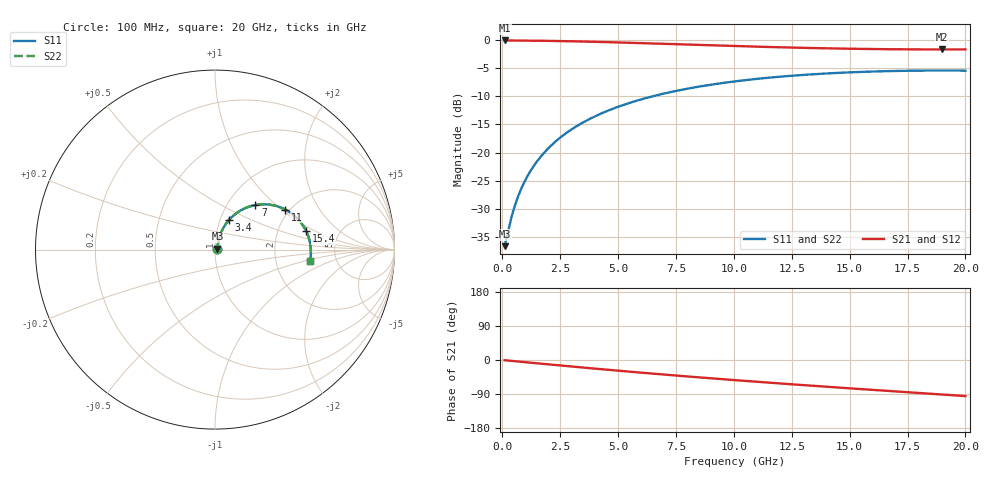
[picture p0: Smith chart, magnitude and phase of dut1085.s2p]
! Touchstone file exported from HFSS 2026.1.0
!  File:  C:/ffzhzh/LocalFiles/Ansys_Project_Files/temp_train_TSV_RDL_1085_1783300943_39728.aedt
!  Generated:  09:35:48 AM Jul  6, 2026
!  Design:  TSV_RDL
!  Project:  temp_train_TSV_RDL_1085_1783300943_39728
! Variables:
!  h_bsmrdl = 3.33um
!  h_ox = 20um
!  h_rdl = 5um
!  h_sub = 50.65um
!  h_tmrdl = 4.83um
!  h_tsv = 50.65um
!  h_via = 3um
!  l_bsmrdl = 132.7um
!  l_sub = 1720.77um
!  l_tmrdl = 204.11um
!  m_sub = 200um
!  pitch = 39.06um
!  r_tsv = 2.36um
!  s_tmrdl = 10um
!  w_bsmrdl = 13.85um
!  w_sub = 500um
!  w_tmrdl = 21.56um
!  x_tsv_center1 = 214.89um
!  x_tsv_center2 = 361.44um
!  x_tsv_center3 = 587.11um
!  x_tsv_center4 = 733.66um
!  x_tsv_center5 = 959.33um
!  x_tsv_center6 = 1105.88um
# GHz S MA R 50.000000
! Terminal data exported
! Port[1] = TM_RDL1_1_T1
! Port[2] = TM_RDL5_1_T1
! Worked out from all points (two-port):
!   200 points, 100 MHz to 20 GHz, reference 50 ohm
!   highest |S21| = -0.12 dB at 100 MHz (marker M1); lowest = -1.7 dB at 19 GHz (marker M2)
!   |S21| within 3 dB of the highest: start of sweep to end of sweep
!   lowest |S11| = -36.6 dB at 100 MHz (marker M3), VSWR 1.03, Z = 51.4 + j0.594 ohm
!   |S11| at or under -10 dB: start of sweep to 6.5 GHz
!   |S22| runs from -36.6 to -5.4 dB; largest |S21 - S12| = 1.6e-14
!   S11 on the Smith chart (normalised r, x): 100 MHz: 1.03, +0.01; 3.4 GHz: 1.10, +0.37; 7 GHz: 1.34, +0.75; 11 GHz: 1.90, +1.06; 15.4 GHz: 2.90, +0.81; 20 GHz: 3.18, -0.56
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0.1  0.01487 22.9  0.9863 -0.6  0.9863 -0.6  0.01487 22.9
! Gamma 0 0 0 0
! Port Impedance 50 0 50 0
0.4  0.027 55.3  0.9853 -2.4  0.9853 -2.4  0.027 55.3
0.6  0.03681 62.8  0.9847 -3.5  0.9847 -3.5  0.03681 62.8
0.9  0.05223 68.0  0.9837 -5.3  0.9837 -5.3  0.05223 68.0
1.2  0.06798 70.0  0.9825 -7.0  0.9825 -7.0  0.06798 70.0
1.6  0.0891 70.6  0.9805 -9.3  0.9805 -9.3  0.0891 70.6
2.1  0.1153 69.8  0.9773 -12.2  0.9773 -12.2  0.1153 69.8
2.7  0.1462 67.8  0.9725 -15.6  0.9725 -15.6  0.1462 67.8
3.4  0.1811 64.9  0.9659 -19.5  0.9659 -19.5  0.1811 64.9
3.5  0.1859 64.5  0.9648 -20.0  0.9648 -20.0  0.1859 64.5
4.2  0.2191 61.2  0.9571 -23.9  0.9571 -23.9  0.2191 61.2
5  0.255 57.4  0.9473 -28.2  0.9473 -28.2  0.255 57.4
6.8  0.3275 48.8  0.9234 -37.5  0.9234 -37.5  0.3275 48.8
7  0.3348 47.8  0.9206 -38.5  0.9206 -38.5  0.3348 47.8
8.5  0.3849 40.8  0.9002 -45.9  0.9002 -45.9  0.3849 40.8
10.1  0.4295 33.6  0.8796 -53.4  0.8796 -53.4  0.4295 33.6
11  0.4508 29.7  0.8689 -57.5  0.8689 -57.5  0.4508 29.7
13.4  0.4948 19.5  0.8449 -68.0  0.8449 -68.0  0.4948 19.5
15.4  0.5186 11.4  0.8309 -76.4  0.8309 -76.4  0.5186 11.4
16.7  0.5282 6.2  0.825 -81.8  0.825 -81.8  0.5282 6.2
19  0.5346 -2.8  0.8209 -91.1  0.8209 -91.1  0.5346 -2.8
20  0.5331 -6.7  0.8217 -95.2  0.8217 -95.2  0.5331 -6.7
